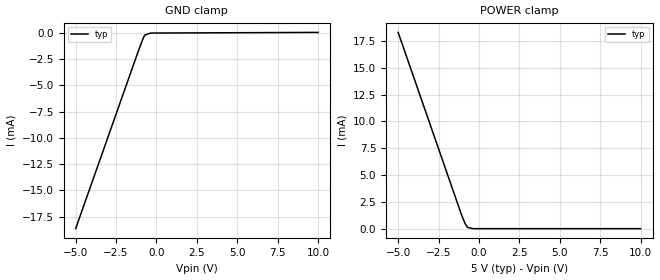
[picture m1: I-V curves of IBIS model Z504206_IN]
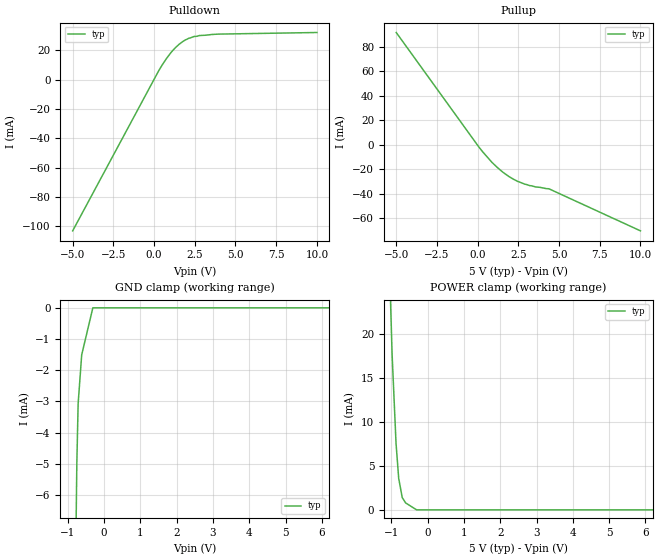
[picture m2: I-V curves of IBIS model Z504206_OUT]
| YOU ARE ONLY AUTHORIZED TO USE THIS SOFTWARE
| ACCORDING TO LICENSOR'S LICENSE RESTRICTIONS.
[IBIS Ver] 3.1
[File Name] mc74hc280d.ibs
[File Rev] 2.0
[Source] Measured and created by ICX Technology
[Date] Friday 7/14/00 9:08:09 AM
[Copyright]
| (C) COPYRIGHT 1993-2000
| MENTOR GRAPHICS CORPORATION
| ICX STANDARD LIBRARY, ICX PROJECT MODELING,
| ICX CUSTOM MODELING, ICX VENDOR MODEL
| ALL RIGHTS RESERVED.
| THE FOLLOWING ARE TRADEMARKS OR SERVICE MARKS OF
| MENTOR GRAPHICS CORPORATION:ICX (R), ICX STANDARD
| LIBRARY(R), ICX PROJECT MODELING(R), ICX CUSTOM
| MODELING(R), qualityIBIS(TM), MODELVIEWER(TM),
| AND MODELEDITOR(TM)
| ALL COPIES OF SOFTWARE, INCLUDING BUT NOT LIMITED TO
| ANY MODIFICATIONS, ENHANCEMENTS OR DERIVATIVE WORKS,
| MUST CONTAIN ALL MENTOR GRAPHICS CORPORATION'S
| NOTICES AND LEGENDS, INCLUDING THOSE EMBEDDED IN
| SOFTWARE AND THOSE AFFIXED TO SOFTWARE MEDIUM
| AND CONTAINER, AS RECEIVED FROM MENTOR GRAPHICS
| CORPORATION.
|  ZAP Model Builder 2.7
[Component] MC74HC280D
[Manufacturer] OnSemiconductor
[Package]
| variable   typ   min   max
R_pkg  .155ohms NA NA
L_pkg  3.028nH NA NA
C_pkg  .381pF NA NA
[Pin] signal_name  model_name  R_pin  L_pin C_pin
1 G Z504206_IN .16 3.587n .407p
2 H Z504206_IN .156 3.147n .387p
3 NC NC .152 2.717n .367p
4 I Z504206_IN .148 2.297n .347p
5 EVEN Z504206_OUT .152 2.717n .367p
6 _ODD Z504206_OUT .156 3.147n .387p
7 GND GND .16 3.587n .407p
8 A Z504206_IN .16 3.587n .407p
9 B Z504206_IN .156 3.147n .387p
10 C Z504206_IN .152 2.717n .367p
11 D Z504206_IN .148 2.297n .347p
12 E Z504206_IN .152 2.717n .367p
13 F Z504206_IN .156 3.147n .387p
14 VCC POWER .16 3.587n .407p
| Models and submodels in the file (2): Z504206_IN (Input), Z504206_OUT (Output)
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| (C) COPYRIGHT 1993-2000
| MENTOR GRAPHICS CORPORATION
| ICX STANDARD LIBRARY, ICX PROJECT MODELING,
| ICX CUSTOM MODELING, ICX VENDOR MODEL
| ALL RIGHTS RESERVED.
| THE FOLLOWING ARE TRADEMARKS OR SERVICE MARKS OF
| MENTOR GRAPHICS CORPORATION:ICX (R), ICX STANDARD
| LIBRARY(R), ICX PROJECT MODELING(R), ICX CUSTOM
| MODELING(R), qualityIBIS(TM), MODELVIEWER(TM),
| AND MODELEDITOR(TM)
| ALL COPIES OF SOFTWARE, INCLUDING BUT NOT LIMITED TO
| ANY MODIFICATIONS, ENHANCEMENTS OR DERIVATIVE WORKS,
| MUST CONTAIN ALL MENTOR GRAPHICS CORPORATION'S
| NOTICES AND LEGENDS, INCLUDING THOSE EMBEDDED IN
| SOFTWARE AND THOSE AFFIXED TO SOFTWARE MEDIUM
| AND CONTAINER, AS RECEIVED FROM MENTOR GRAPHICS
| CORPORATION.
| Model Application Version 1.89 2/18/99.
[Model] Z504206_IN
Model_type Input
Vinl = 1.000V
Vinh = 3.500V
C_comp 4.000pF NA NA
| variable typ   min   max
[Voltage Range] 5.000V NA NA
[GND Clamp Reference] 0.000V NA NA
[POWER Clamp Reference] 5.000V NA NA
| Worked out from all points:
|   POWER clamp passes 1 mA (typ) near -1.00 V on its own axis
[GND Clamp]
-5V       -18.64mA   NA         NA
-1.133V   -1.79mA    NA         NA
-841.7mV  -609uA     NA         NA
-729.3mV  -221.5uA   NA         NA
-364.7mV  -28.95uA   NA         NA
10V       34.63uA    NA         NA
[POWER Clamp]
-5V       18.29mA    NA         NA
-1.079V   1.286mA    NA         NA
-866mV    501.8uA    NA         NA
-709mV    114.8uA    NA         NA
-354.5mV  0A         NA         NA
10V       0A         NA         NA
| (C) COPYRIGHT 1993-2000
| MENTOR GRAPHICS CORPORATION
| ICX STANDARD LIBRARY, ICX PROJECT MODELING,
| ICX CUSTOM MODELING, ICX VENDOR MODEL
| ALL RIGHTS RESERVED.
| THE FOLLOWING ARE TRADEMARKS OR SERVICE MARKS OF
| MENTOR GRAPHICS CORPORATION:ICX (R), ICX STANDARD
| LIBRARY(R), ICX PROJECT MODELING(R), ICX CUSTOM
| MODELING(R), qualityIBIS(TM), MODELVIEWER(TM),
| AND MODELEDITOR(TM)
| ALL COPIES OF SOFTWARE, INCLUDING BUT NOT LIMITED TO
| ANY MODIFICATIONS, ENHANCEMENTS OR DERIVATIVE WORKS,
| MUST CONTAIN ALL MENTOR GRAPHICS CORPORATION'S
| NOTICES AND LEGENDS, INCLUDING THOSE EMBEDDED IN
| SOFTWARE AND THOSE AFFIXED TO SOFTWARE MEDIUM
| AND CONTAINER, AS RECEIVED FROM MENTOR GRAPHICS
| CORPORATION.
| Model Application Version 1.89 2/18/99.
[Model] Z504206_OUT
Model_type Output
Vref=0.000V
Rref=500.0Mohms
Cref=50.00pF
Vmeas=2.500V
C_comp 8.000pF NA NA
| variable typ   min   max
[Voltage Range] 5.000V NA NA
[POWER Clamp Reference] 5.000V NA NA
[Pullup Reference] 5.000V NA NA
[Pulldown Reference] 0.000V NA NA
[GND Clamp Reference] 0.000V NA NA
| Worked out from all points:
|   slope of the pulldown table from 0 to 0.75 V, typ, clamps not added: 53.6 ohm
|   slope of the pullup table from 0 to 0.75 V, typ, clamps not added: 62.6 ohm
|   POWER clamp passes 1 mA (typ) near -0.64 V on its own axis
[GND Clamp]
-5V       -693.3mA   NA         NA
-1.273V   -63.26mA   NA         NA
-1.03V    -31.83mA   NA         NA
-748.6mV  -4.982mA   NA         NA
-712.9mV  -3.078mA   NA         NA
-614.9mV  -1.508mA   NA         NA
-307.4mV  0A         NA         NA
10V       0A         NA         NA
[Pulldown]
-5V       -103mA     NA         NA
299.3mV   6.297mA    NA         NA
771.5mV   14.47mA    NA         NA
1.064V    18.74mA    NA         NA
1.537V    24mA       NA         NA
2.13V     28.13mA    NA         NA
2.787V    29.97mA    NA         NA
3.965V    30.94mA    NA         NA
10V       32.03mA    NA         NA
[Pullup]
-5V       91.64mA    NA         NA
40mV      -1.243mA   NA         NA
864mV     -14.21mA   NA         NA
1.557V    -22.54mA   NA         NA
2.168V    -27.98mA   NA         NA
2.9V      -32.27mA   NA         NA
3.574V    -34.55mA   NA         NA
4.373V    -35.99mA   NA         NA
10V       -70.37mA   NA         NA
[POWER Clamp]
-5V       1.046A     NA         NA
-1.191V   55.04mA    NA         NA
-1.044V   26.99mA    NA         NA
-977mV    17.66mA    NA         NA
-869mV    7.571mA    NA         NA
-796mV    3.587mA    NA         NA
-698mV    1.393mA    NA         NA
-604mV    785uA      NA         NA
-302mV    0A         NA         NA
10V       0A         NA         NA
[Ramp]
| variable typ min max
dV/dt_r 2.693/1.862n NA NA
dV/dt_f 2.693/2.094n NA NA
R_load = 500.0Ohms
